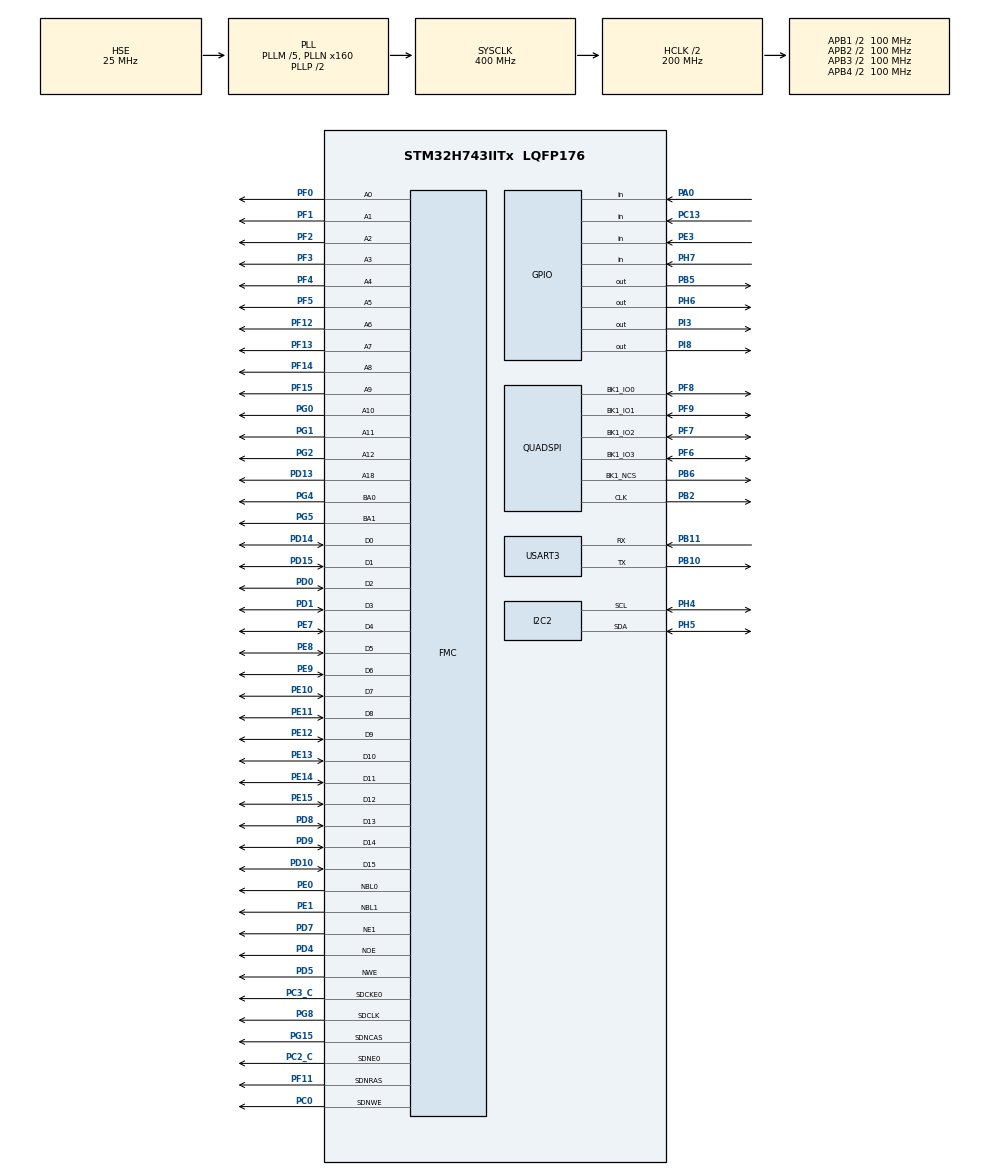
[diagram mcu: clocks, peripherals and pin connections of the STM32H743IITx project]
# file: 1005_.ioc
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CORTEX_M7.AccessPermission_S-Cortex_Memory_Protection_Unit_Region1_Settings_S=MPU_REGION_FULL_ACCESS
CORTEX_M7.AccessPermission_S-Cortex_Memory_Protection_Unit_Region2_Settings_S=MPU_REGION_FULL_ACCESS
CORTEX_M7.AccessPermission_Spec=MPU_REGION_NO_ACCESS
CORTEX_M7.BaseAddress_S-Cortex_Memory_Protection_Unit_Region1_Settings_S=0x60000000
CORTEX_M7.BaseAddress_S-Cortex_Memory_Protection_Unit_Region2_Settings_S=0xC0000000
CORTEX_M7.BaseAddress_Spec=0x00000000
CORTEX_M7.DisableExec_S-Cortex_Memory_Protection_Unit_Region1_Settings_S=MPU_INSTRUCTION_ACCESS_DISABLE
CORTEX_M7.DisableExec_S-Cortex_Memory_Protection_Unit_Region2_Settings_S=MPU_INSTRUCTION_ACCESS_DISABLE
CORTEX_M7.Enable_S-Cortex_Memory_Protection_Unit_Region1_Settings_S=MPU_REGION_ENABLE
CORTEX_M7.Enable_S-Cortex_Memory_Protection_Unit_Region2_Settings_S=MPU_REGION_ENABLE
CORTEX_M7.IsBufferable_S-Cortex_Memory_Protection_Unit_Region1_Settings_S=MPU_ACCESS_BUFFERABLE
CORTEX_M7.IsBufferable_Spec=MPU_ACCESS_NOT_BUFFERABLE
CORTEX_M7.IsShareable_S-Cortex_Memory_Protection_Unit_Region1_Settings_S=MPU_ACCESS_SHAREABLE
CORTEX_M7.IsShareable_Spec=MPU_ACCESS_SHAREABLE
CORTEX_M7.Size_S-Cortex_Memory_Protection_Unit_Region1_Settings_S=MPU_REGION_SIZE_64MB
CORTEX_M7.Size_S-Cortex_Memory_Protection_Unit_Region2_Settings_S=MPU_REGION_SIZE_32MB
CORTEX_M7.Size_Spec=MPU_REGION_SIZE_4GB
CORTEX_M7.SubRegionDisable_S-Cortex_Memory_Protection_Unit_Region2_Settings_S=0x00
CORTEX_M7.SubRegionDisable_Spec=0x87
CORTEX_M7.TypeExtField_S-Cortex_Memory_Protection_Unit_Region2_Settings_S=MPU_TEX_LEVEL1
CORTEX_M7.default_mode_Activation=1
FMC.CASLatency1=FMC_SDRAM_CAS_LATENCY_2
FMC.ColumnBitsNumber1=FMC_SDRAM_COLUMN_BITS_NUM_9
FMC.DataSetupTime1=78
FMC.ExtendedDataSetupTime1=15
FMC.ExtendedMode1=FMC_EXTENDED_MODE_ENABLE
FMC.ReadPipeDelay1=FMC_SDRAM_RPIPE_DELAY_2
FMC.ReadPipeDelay2=FMC_SDRAM_RPIPE_DELAY_2
FMC.SDClockPeriod1=FMC_SDRAM_CLOCK_PERIOD_2
FMC.SDClockPeriod2=FMC_SDRAM_CLOCK_PERIOD_2
I2C2.Timing=0x10C0ECFF
Mcu.Family=STM32H7
Mcu.Name=STM32H743IITx
Mcu.Package=LQFP176
NVIC.PriorityGroup=NVIC_PRIORITYGROUP_4
PA0.GPIO_PuPd=GPIO_PULLDOWN
PA0.Signal=GPIO_Input
PA10.Signal=USART1_RX
PA13\ (JTMS/SWDIO).Mode=Serial_Wire
PA13\ (JTMS/SWDIO).Signal=DEBUG_JTMS-SWDIO
PA14\ (JTCK/SWCLK).Mode=Serial_Wire
PA14\ (JTCK/SWCLK).Signal=DEBUG_JTCK-SWCLK
PA2.Signal=USART2_TX
PA3.Signal=USART2_RX
PA9.Signal=USART1_TX
PB10.GPIO_Speed=GPIO_SPEED_FREQ_HIGH
PB10.Mode=Asynchronous
PB10.Signal=USART3_TX
PB11.GPIO_PuPd=GPIO_PULLUP
PB11.GPIO_Speed=GPIO_SPEED_FREQ_HIGH
PB11.Mode=Asynchronous
PB11.Signal=USART3_RX
PB2.GPIO_Speed=GPIO_SPEED_FREQ_VERY_HIGH
PB2.Mode=Single Bank 1
PB2.Signal=QUADSPI_CLK
PB5.Signal=GPIO_Output
PB6.GPIO_PuPd=GPIO_PULLUP
PB6.GPIO_Speed=GPIO_SPEED_FREQ_VERY_HIGH
PB6.Mode=Single Bank 1
PB6.Signal=QUADSPI_BK1_NCS
PB8.Signal=UART4_RX
PB9.Signal=UART4_TX
PC0.Signal=FMC_SDNWE
PC12.Signal=UART5_TX
PC13.GPIO_PuPd=GPIO_PULLUP
PC13.Signal=GPIO_Input
PC2_C.Mode=SdramChipSelect1_1
PC2_C.Signal=FMC_SDNE0
PC3_C.Mode=SdramChipSelect1_1
PC3_C.Signal=FMC_SDCKE0
PC6.Signal=USART6_TX
PC7.Signal=USART6_RX
PD0.Signal=FMC_D2_DA2
PD1.Signal=FMC_D3_DA3
PD10.Signal=FMC_D15_DA15
PD13.Signal=FMC_A18
PD14.Signal=FMC_D0_DA0
PD15.Signal=FMC_D1_DA1
PD2.Signal=UART5_RX
PD4.Signal=FMC_NOE
PD5.Signal=FMC_NWE
PD7.Mode=NorPsramChipSelect1_1
PD7.Signal=FMC_NE1
PD8.Signal=FMC_D13_DA13
PD9.Signal=FMC_D14_DA14
PE0.Signal=FMC_NBL0
PE1.Signal=FMC_NBL1
PE10.Signal=FMC_D7_DA7
PE11.Signal=FMC_D8_DA8
PE12.Signal=FMC_D9_DA9
PE13.Signal=FMC_D10_DA10
PE14.Signal=FMC_D11_DA11
PE15.Signal=FMC_D12_DA12
PE3.GPIO_PuPd=GPIO_PULLUP
PE3.Signal=GPIO_Input
PE7.Signal=FMC_D4_DA4
PE8.Signal=FMC_D5_DA5
PE9.Signal=FMC_D6_DA6
PF0.Signal=FMC_A0
PF1.Signal=FMC_A1
PF11.Signal=FMC_SDNRAS
PF12.Signal=FMC_A6
PF13.Signal=FMC_A7
PF14.Signal=FMC_A8
PF15.Signal=FMC_A9
PF2.Signal=FMC_A2
PF3.Signal=FMC_A3
PF4.Signal=FMC_A4
PF5.Signal=FMC_A5
PF6.GPIO_Speed=GPIO_SPEED_FREQ_VERY_HIGH
PF6.Mode=Single Bank 1
PF6.Signal=QUADSPI_BK1_IO3
PF7.GPIO_Speed=GPIO_SPEED_FREQ_VERY_HIGH
PF7.Mode=Single Bank 1
PF7.Signal=QUADSPI_BK1_IO2
PF8.GPIO_Speed=GPIO_SPEED_FREQ_VERY_HIGH
PF8.Mode=Single Bank 1
PF8.Signal=QUADSPI_BK1_IO0
PF9.GPIO_Speed=GPIO_SPEED_FREQ_VERY_HIGH
PF9.Mode=Single Bank 1
PF9.Signal=QUADSPI_BK1_IO1
PG0.Signal=FMC_A10
PG1.Signal=FMC_A11
PG15.Signal=FMC_SDNCAS
PG2.Signal=FMC_A12
PG4.Signal=FMC_A14_BA0
PG5.Signal=FMC_A15_BA1
PG8.Signal=FMC_SDCLK
PH0-OSC_IN\ (PH0).Mode=HSE-External-Oscillator
PH0-OSC_IN\ (PH0).Signal=RCC_OSC_IN
PH1-OSC_OUT\ (PH1).Mode=HSE-External-Oscillator
PH1-OSC_OUT\ (PH1).Signal=RCC_OSC_OUT
PH4.Mode=I2C
PH4.Signal=I2C2_SCL
PH5.Mode=I2C
PH5.Signal=I2C2_SDA
PH6.GPIO_ModeDefaultOutputPP=GPIO_MODE_OUTPUT_OD
PH6.GPIO_PuPd=GPIO_PULLUP
PH6.GPIO_Speed=GPIO_SPEED_FREQ_MEDIUM
PH6.PinState=GPIO_PIN_SET
PH6.Signal=GPIO_Output
PH7.GPIO_PuPd=GPIO_PULLUP
PH7.Signal=GPIO_Input
PI3.GPIO_ModeDefaultOutputPP=GPIO_MODE_OUTPUT_OD
PI3.GPIO_PuPd=GPIO_PULLUP
PI3.GPIO_Speed=GPIO_SPEED_FREQ_MEDIUM
PI3.PinState=GPIO_PIN_SET
PI3.Signal=GPIO_Output
PI8.GPIO_PuPd=GPIO_PULLUP
PI8.PinState=GPIO_PIN_SET
PI8.Signal=GPIO_Output
ProjectManager.HeapSize=0x200
ProjectManager.StackSize=0x400
ProjectManager.TargetToolchain=MDK-ARM V5.32
QUADSPI.ChipSelectHighTime=QSPI_CS_HIGH_TIME_3_CYCLE
QUADSPI.ClockMode=QSPI_CLOCK_MODE_3
QUADSPI.ClockPrescaler=1
QUADSPI.FifoThreshold=4
QUADSPI.FlashSize=24
QUADSPI.SampleShifting=QSPI_SAMPLE_SHIFTING_HALFCYCLE
RCC.ADCFreq_Value=50390625
RCC.APB1Freq_Value=100000000
RCC.APB2Freq_Value=100000000
RCC.APB3Freq_Value=100000000
RCC.APB4Freq_Value=100000000
RCC.CortexFreq_Value=400000000
RCC.D1PPRE=RCC_APB3_DIV2
RCC.D2PPRE1=RCC_APB1_DIV2
RCC.D2PPRE2=RCC_APB2_DIV2
RCC.D3PPRE=RCC_APB4_DIV2
RCC.DIVM1=5
RCC.DIVN1=160
RCC.HCLKFreq_Value=200000000
RCC.HPRE=RCC_HCLK_DIV2
RCC.PLLSourceVirtual=RCC_PLLSOURCE_HSE
RCC.SYSCLKFreq_VALUE=400000000
RCC.SYSCLKSource=RCC_SYSCLKSOURCE_PLLCLK
RCC.USBFreq_Value=400000000
SH.FMC_A0.0=FMC_A0,13b-sda1
SH.FMC_A1.0=FMC_A1,13b-sda1
SH.FMC_A10.0=FMC_A10,13b-sda1
SH.FMC_A11.0=FMC_A11,13b-sda1
SH.FMC_A12.0=FMC_A12,13b-sda1
SH.FMC_A14_BA0.0=FMC_BA0,FourSdramBanks1
SH.FMC_A15_BA1.0=FMC_BA1,FourSdramBanks1
SH.FMC_A18.0=FMC_A18,A18_1
SH.FMC_A2.0=FMC_A2,13b-sda1
SH.FMC_A3.0=FMC_A3,13b-sda1
SH.FMC_A4.0=FMC_A4,13b-sda1
SH.FMC_A5.0=FMC_A5,13b-sda1
SH.FMC_A6.0=FMC_A6,13b-sda1
SH.FMC_A7.0=FMC_A7,13b-sda1
SH.FMC_A8.0=FMC_A8,13b-sda1
SH.FMC_A9.0=FMC_A9,13b-sda1
SH.FMC_D0_DA0.0=FMC_D0,16b-d1
SH.FMC_D0_DA0.1=FMC_D0,sd-16b-d1
SH.FMC_D10_DA10.0=FMC_D10,16b-d1
SH.FMC_D10_DA10.1=FMC_D10,sd-16b-d1
SH.FMC_D11_DA11.0=FMC_D11,16b-d1
SH.FMC_D11_DA11.1=FMC_D11,sd-16b-d1
SH.FMC_D12_DA12.0=FMC_D12,16b-d1
SH.FMC_D12_DA12.1=FMC_D12,sd-16b-d1
SH.FMC_D13_DA13.0=FMC_D13,16b-d1
SH.FMC_D13_DA13.1=FMC_D13,sd-16b-d1
SH.FMC_D14_DA14.0=FMC_D14,16b-d1
SH.FMC_D14_DA14.1=FMC_D14,sd-16b-d1
SH.FMC_D15_DA15.0=FMC_D15,16b-d1
SH.FMC_D15_DA15.1=FMC_D15,sd-16b-d1
SH.FMC_D1_DA1.0=FMC_D1,16b-d1
SH.FMC_D1_DA1.1=FMC_D1,sd-16b-d1
SH.FMC_D2_DA2.0=FMC_D2,16b-d1
SH.FMC_D2_DA2.1=FMC_D2,sd-16b-d1
SH.FMC_D3_DA3.0=FMC_D3,16b-d1
SH.FMC_D3_DA3.1=FMC_D3,sd-16b-d1
SH.FMC_D4_DA4.0=FMC_D4,16b-d1
SH.FMC_D4_DA4.1=FMC_D4,sd-16b-d1
SH.FMC_D5_DA5.0=FMC_D5,16b-d1
SH.FMC_D5_DA5.1=FMC_D5,sd-16b-d1
SH.FMC_D6_DA6.0=FMC_D6,16b-d1
SH.FMC_D6_DA6.1=FMC_D6,sd-16b-d1
SH.FMC_D7_DA7.0=FMC_D7,16b-d1
SH.FMC_D7_DA7.1=FMC_D7,sd-16b-d1
SH.FMC_D8_DA8.0=FMC_D8,16b-d1
SH.FMC_D8_DA8.1=FMC_D8,sd-16b-d1
SH.FMC_D9_DA9.0=FMC_D9,16b-d1
SH.FMC_D9_DA9.1=FMC_D9,sd-16b-d1
SH.FMC_NBL0.0=FMC_NBL0,Sd2ByteEnable1
SH.FMC_NBL1.0=FMC_NBL1,Sd2ByteEnable1
SH.FMC_NOE.0=FMC_NOE,Lcd1
SH.FMC_NWE.0=FMC_NWE,Lcd1
SH.FMC_SDCLK.0=FMC_SDCLK,13b-sda1
SH.FMC_SDNCAS.0=FMC_SDNCAS,13b-sda1
SH.FMC_SDNRAS.0=FMC_SDNRAS,13b-sda1
SH.FMC_SDNWE.0=FMC_SDNWE,13b-sda1
USART3.VirtualMode-Asynchronous=VM_ASYNC
VP_MEMORYMAP_VS_MEMORYMAP.Mode=CurAppReg
board=custom

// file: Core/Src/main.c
/* USER CODE BEGIN Header */
/**
  ******************************************************************************
  * @file           : main.c
  * @brief          : Main program body
  ******************************************************************************
  * @attention
  *
  * Copyright (c) 2026 STMicroelectronics.
  * All rights reserved.
  *
  * This software is licensed under terms that can be found in the LICENSE file
  * in the root directory of this software component.
  * If no LICENSE file comes with this software, it is provided AS-IS.
  *
  ******************************************************************************
  */
/* USER CODE END Header */
#include "main.h"
#include "i2c.h"
#include "quadspi.h"
#include "usart.h"
#include "gpio.h"
#include "fmc.h"

/* USER CODE BEGIN Includes */
#include "lcd.h"
/* USER CODE END Includes */

/* USER CODE BEGIN PV */
volatile HAL_StatusTypeDef g_lcd_result = HAL_ERROR;
/* USER CODE END PV */

void SystemClock_Config(void);
static void MPU_Config(void);

int main(void)
{

  /* MPU Configuration--------------------------------------------------------*/
  MPU_Config();

  /* MCU Configuration--------------------------------------------------------*/

  /* Reset of all peripherals, Initializes the Flash interface and the Systick. */
  HAL_Init();

  /* Configure the system clock */
  SystemClock_Config();

  /* Initialize all configured peripherals */
  MX_GPIO_Init();
  MX_FMC_Init();
  MX_QUADSPI_Init();
  MX_USART3_UART_Init();
  MX_I2C2_Init();
  /* USER CODE BEGIN 2 */
g_lcd_result = lcd_init();
if (g_lcd_result == HAL_OK)
{
    lcd_clear(LCD_COLOR_RED);
    lcd_backlight(1);
}
  /* USER CODE END 2 */

  /* Infinite loop */
  while (1)
  {

    /* USER CODE BEGIN 3 */
		if (g_lcd_result == HAL_OK)
{
    lcd_clear(LCD_COLOR_RED);
    HAL_Delay(1000);
    lcd_clear(LCD_COLOR_GREEN);
    HAL_Delay(1000);
    lcd_clear(LCD_COLOR_BLUE);
    HAL_Delay(1000);
}
else
{
    HAL_Delay(1000);
}
  }
  /* USER CODE END 3 */
}

void SystemClock_Config(void)
{
  RCC_OscInitTypeDef RCC_OscInitStruct = {0};
  RCC_ClkInitTypeDef RCC_ClkInitStruct = {0};

  /** Supply configuration update enable
  */
  HAL_PWREx_ConfigSupply(PWR_LDO_SUPPLY);

  /** Configure the main internal regulator output voltage
  */
  __HAL_PWR_VOLTAGESCALING_CONFIG(PWR_REGULATOR_VOLTAGE_SCALE1);

  while(!__HAL_PWR_GET_FLAG(PWR_FLAG_VOSRDY)) {}

  /** Initializes the RCC Oscillators according to the specified parameters
  * in the RCC_OscInitTypeDef structure.
  */
  RCC_OscInitStruct.OscillatorType = RCC_OSCILLATORTYPE_HSE;
  RCC_OscInitStruct.HSEState = RCC_HSE_ON;
  RCC_OscInitStruct.PLL.PLLState = RCC_PLL_ON;
  RCC_OscInitStruct.PLL.PLLSource = RCC_PLLSOURCE_HSE;
  RCC_OscInitStruct.PLL.PLLM = 5;
  RCC_OscInitStruct.PLL.PLLN = 160;
  RCC_OscInitStruct.PLL.PLLP = 2;
  RCC_OscInitStruct.PLL.PLLQ = 2;
  RCC_OscInitStruct.PLL.PLLR = 2;
  RCC_OscInitStruct.PLL.PLLRGE = RCC_PLL1VCIRANGE_2;
  RCC_OscInitStruct.PLL.PLLVCOSEL = RCC_PLL1VCOWIDE;
  RCC_OscInitStruct.PLL.PLLFRACN = 0;
  if (HAL_RCC_OscConfig(&RCC_OscInitStruct) != HAL_OK)
  {
    Error_Handler();
  }

  /** Initializes the CPU, AHB and APB buses clocks
  */
  RCC_ClkInitStruct.ClockType = RCC_CLOCKTYPE_HCLK|RCC_CLOCKTYPE_SYSCLK
                              |RCC_CLOCKTYPE_PCLK1|RCC_CLOCKTYPE_PCLK2
                              |RCC_CLOCKTYPE_D3PCLK1|RCC_CLOCKTYPE_D1PCLK1;
  RCC_ClkInitStruct.SYSCLKSource = RCC_SYSCLKSOURCE_PLLCLK;
  RCC_ClkInitStruct.SYSCLKDivider = RCC_SYSCLK_DIV1;
  RCC_ClkInitStruct.AHBCLKDivider = RCC_HCLK_DIV2;
  RCC_ClkInitStruct.APB3CLKDivider = RCC_APB3_DIV2;
  RCC_ClkInitStruct.APB1CLKDivider = RCC_APB1_DIV2;
  RCC_ClkInitStruct.APB2CLKDivider = RCC_APB2_DIV2;
  RCC_ClkInitStruct.APB4CLKDivider = RCC_APB4_DIV2;

  if (HAL_RCC_ClockConfig(&RCC_ClkInitStruct, FLASH_LATENCY_2) != HAL_OK)
  {
    Error_Handler();
  }
}

 /* MPU Configuration */

void MPU_Config(void)
{
  MPU_Region_InitTypeDef MPU_InitStruct = {0};

  /* Disables the MPU */
  HAL_MPU_Disable();

  /** Initializes and configures the Region and the memory to be protected
  */
  MPU_InitStruct.Enable = MPU_REGION_ENABLE;
  MPU_InitStruct.Number = MPU_REGION_NUMBER0;
  MPU_InitStruct.BaseAddress = 0x00000000;
  MPU_InitStruct.Size = MPU_REGION_SIZE_4GB;
  MPU_InitStruct.SubRegionDisable = 0x87;
  MPU_InitStruct.TypeExtField = MPU_TEX_LEVEL0;
  MPU_InitStruct.AccessPermission = MPU_REGION_NO_ACCESS;
  MPU_InitStruct.DisableExec = MPU_INSTRUCTION_ACCESS_DISABLE;
  MPU_InitStruct.IsShareable = MPU_ACCESS_SHAREABLE;
  MPU_InitStruct.IsCacheable = MPU_ACCESS_NOT_CACHEABLE;
  MPU_InitStruct.IsBufferable = MPU_ACCESS_NOT_BUFFERABLE;

  HAL_MPU_ConfigRegion(&MPU_InitStruct);

  /** Initializes and configures the Region and the memory to be protected
  */
  MPU_InitStruct.Number = MPU_REGION_NUMBER1;
  MPU_InitStruct.BaseAddress = 0x60000000;
  MPU_InitStruct.Size = MPU_REGION_SIZE_64MB;
  MPU_InitStruct.SubRegionDisable = 0x0;
  MPU_InitStruct.AccessPermission = MPU_REGION_FULL_ACCESS;
  MPU_InitStruct.IsBufferable = MPU_ACCESS_BUFFERABLE;

  HAL_MPU_ConfigRegion(&MPU_InitStruct);

  /** Initializes and configures the Region and the memory to be protected
  */
  MPU_InitStruct.Number = MPU_REGION_NUMBER2;
  MPU_InitStruct.BaseAddress = 0xC0000000;
  MPU_InitStruct.Size = MPU_REGION_SIZE_32MB;
  MPU_InitStruct.SubRegionDisable = 0x00;
  MPU_InitStruct.TypeExtField = MPU_TEX_LEVEL1;
  MPU_InitStruct.IsShareable = MPU_ACCESS_NOT_SHAREABLE;
  MPU_InitStruct.IsBufferable = MPU_ACCESS_NOT_BUFFERABLE;

  HAL_MPU_ConfigRegion(&MPU_InitStruct);
  /* Enables the MPU */
  HAL_MPU_Enable(MPU_PRIVILEGED_DEFAULT);

}

void Error_Handler(void)
{
  __disable_irq();
  while (1)
  {
  }
}
